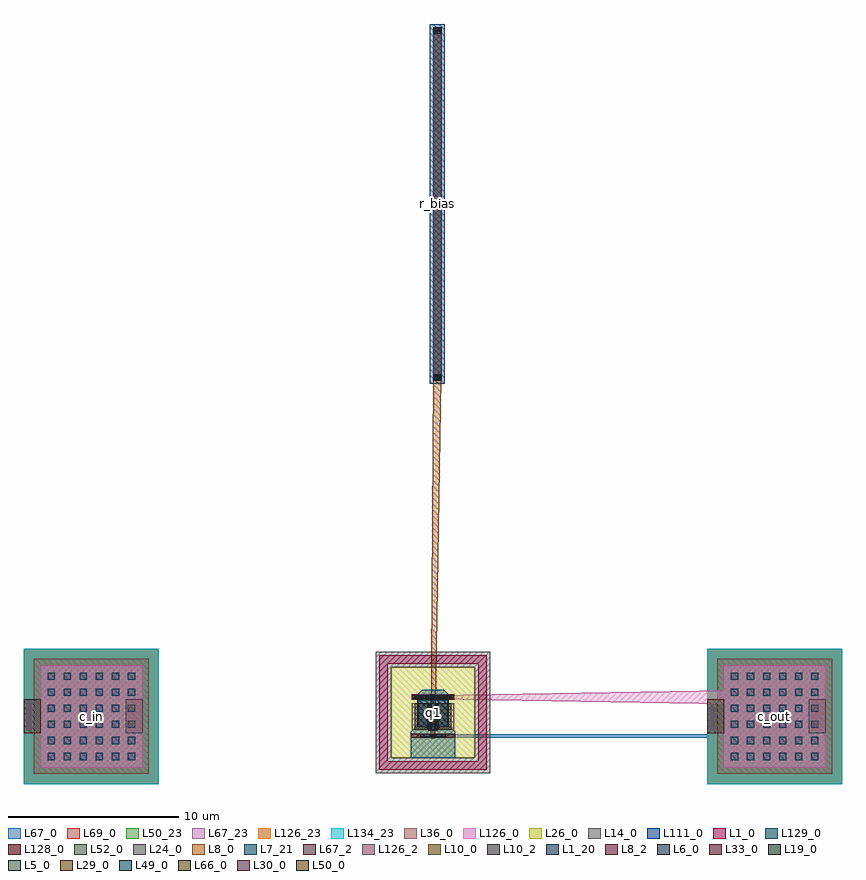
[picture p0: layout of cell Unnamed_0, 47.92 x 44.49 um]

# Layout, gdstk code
from math import pi, radians
import gdstk
lib = gdstk.Library(unit=1e-6, precision=1e-09)
def R(c, l, rs):  # rectangles x0, y0, x1, y1
    for r in rs: c.add(gdstk.rectangle(r[:2], r[2:], *l))
def P(c, l, *ps):  # polygons
    for p in ps: c.add(gdstk.Polygon(p, *l))
L1_0 = (1, 0)
L1_20 = (1, 20)
L5_0 = (5, 0)
L6_0 = (6, 0)
L7_21 = (7, 21)
L8_0 = (8, 0)
L8_2 = (8, 2)
L10_0 = (10, 0)
L10_2 = (10, 2)
L14_0 = (14, 0)
L19_0 = (19, 0)
L24_0 = (24, 0)
L26_0 = (26, 0)
L29_0 = (29, 0)
L30_0 = (30, 0)
L33_0 = (33, 0)
L36_0 = (36, 0)
L49_0 = (49, 0)
L50_0 = (50, 0)
L50_23 = (50, 23)
L52_0 = (52, 0)
L66_0 = (66, 0)
L67_0 = (67, 0)
L67_2 = (67, 2)
L67_23 = (67, 23)
L69_0 = (69, 0)
L111_0 = (111, 0)
L126_0 = (126, 0)
L126_2 = (126, 2)
L126_23 = (126, 23)
L128_0 = (128, 0)
L129_0 = (129, 0)
L134_23 = (134, 23)

rectangle_gdsfactorypcom = lib.new_cell('rectangle_gdsfactorypcomponentspshapesprectangle_S0p24__4b6e2a1b')
R(rectangle_gdsfactorypcom, L8_0, [(-0.12,-0.12,0.12,0.12)])

c_rectangle_gdsfactorypcom = lib.new_cell('rectangle_gdsfactorypcomponentspshapesprectangle_S0p24__8992c113')
R(c_rectangle_gdsfactorypcom, L10_0, [(-0.12,-0.12,0.12,0.12)])

c_rectangle_gdsfactorypcom_ = lib.new_cell('rectangle_gdsfactorypcomponentspshapesprectangle_S0p24__17c20360')
R(c_rectangle_gdsfactorypcom_, L30_0, [(-0.12,-0.12,0.12,0.12)])

c_rectangle_gdsfactorypcom__ = lib.new_cell('rectangle_gdsfactorypcomponentspshapesprectangle_S0p24__aeac00a8')
R(c_rectangle_gdsfactorypcom__, L50_0, [(-0.12,-0.12,0.12,0.12)])

c_rectangle_gdsfactorypcom___ = lib.new_cell('rectangle_gdsfactorypcomponentspshapesprectangle_S0p24__9edfed82')
R(c_rectangle_gdsfactorypcom___, L67_0, [(-0.12,-0.12,0.12,0.12)])

c_rectangle_gdsfactorypcom____ = lib.new_cell('rectangle_gdsfactorypcomponentspshapesprectangle_S0p26__6e8be91d')
R(c_rectangle_gdsfactorypcom____, L19_0, [(0,0,0.26,0.26)])

via_array_vtvia1_c1_r1_v = lib.new_cell('via_array_VTVia1_C1_R1_VS0p26_VS0p36_VE0p06_LCContdrawi_bb37b70c')
via_array_vtvia1_c1_r1_v.add(gdstk.Reference(c_rectangle_gdsfactorypcom____, (0,0)))

c_rectangle_gdsfactorypcom_____ = lib.new_cell('rectangle_gdsfactorypcomponentspshapesprectangle_S0p26__938c5197')
R(c_rectangle_gdsfactorypcom_____, L29_0, [(0,0,0.26,0.26)])

via_array_vtvia2_c1_r1_v = lib.new_cell('via_array_VTVia2_C1_R1_VS0p26_VS0p36_VE0p06_LCContdrawi_3ebaacfb')
via_array_vtvia2_c1_r1_v.add(gdstk.Reference(c_rectangle_gdsfactorypcom_____, (0,0)))

c_rectangle_gdsfactorypcom______ = lib.new_cell('rectangle_gdsfactorypcomponentspshapesprectangle_S0p26__aabd8f97')
R(c_rectangle_gdsfactorypcom______, L49_0, [(0,0,0.26,0.26)])

via_array_vtvia3_c1_r1_v = lib.new_cell('via_array_VTVia3_C1_R1_VS0p26_VS0p36_VE0p06_LCContdrawi_46726bc5')
via_array_vtvia3_c1_r1_v.add(gdstk.Reference(c_rectangle_gdsfactorypcom______, (0,0)))

c_rectangle_gdsfactorypcom_______ = lib.new_cell('rectangle_gdsfactorypcomponentspshapesprectangle_S0p26__5aad903e')
R(c_rectangle_gdsfactorypcom_______, L66_0, [(0,0,0.26,0.26)])

via_array_vtvia4_c1_r1_v = lib.new_cell('via_array_VTVia4_C1_R1_VS0p26_VS0p36_VE0p06_LCContdrawi_3b33ec1e')
via_array_vtvia4_c1_r1_v.add(gdstk.Reference(c_rectangle_gdsfactorypcom_______, (0,0)))

via_stack_blmetal1_tlmet = lib.new_cell('via_stack_BLMetal1_TLMetal5_S0p24_0p24_VC2_VR2_VC1_VR1__5316e0f4')
via_stack_blmetal1_tlmet.add(gdstk.Reference(rectangle_gdsfactorypcom, (0,0)))
via_stack_blmetal1_tlmet.add(gdstk.Reference(c_rectangle_gdsfactorypcom, (0,0)))
via_stack_blmetal1_tlmet.add(gdstk.Reference(c_rectangle_gdsfactorypcom_, (0,0)))
via_stack_blmetal1_tlmet.add(gdstk.Reference(c_rectangle_gdsfactorypcom__, (0,0)))
via_stack_blmetal1_tlmet.add(gdstk.Reference(c_rectangle_gdsfactorypcom___, (0,0)))
via_stack_blmetal1_tlmet.add(gdstk.Reference(via_array_vtvia1_c1_r1_v, (-0.13,-0.13)))
via_stack_blmetal1_tlmet.add(gdstk.Reference(via_array_vtvia2_c1_r1_v, (-0.13,-0.13)))
via_stack_blmetal1_tlmet.add(gdstk.Reference(via_array_vtvia3_c1_r1_v, (-0.13,-0.13)))
via_stack_blmetal1_tlmet.add(gdstk.Reference(via_array_vtvia4_c1_r1_v, (-0.13,-0.13)))

taper_gdsfactorypcompone = lib.new_cell('taper_gdsfactorypcomponentsptapersptaper_L23p8872183395_68e3a2bc')
P(taper_gdsfactorypcompone, L67_0, [(0,-0.12),(0,0.12),(23.887,0.1),(23.887,-0.1)])

unnamed_67 = lib.new_cell('Unnamed_67')
unnamed_67.add(gdstk.Reference(via_stack_blmetal1_tlmet, (20,-1.14)))
unnamed_67.add(gdstk.Reference(taper_gdsfactorypcompone, (20,-1.14)))

c_rectangle_gdsfactorypcom________ = lib.new_cell('rectangle_gdsfactorypcomponentspshapesprectangle_S0p24__3af09ed2')
R(c_rectangle_gdsfactorypcom________, L126_0, [(-0.12,-0.12,0.12,0.12)])

via_stack_blmetal1_tltop = lib.new_cell('via_stack_BLMetal1_TLTopMetal1_S0p24_0p24_VC2_VR2_VC1_V_835649cf')
via_stack_blmetal1_tltop.add(gdstk.Reference(rectangle_gdsfactorypcom, (0,0)))
via_stack_blmetal1_tltop.add(gdstk.Reference(c_rectangle_gdsfactorypcom, (0,0)))
via_stack_blmetal1_tltop.add(gdstk.Reference(c_rectangle_gdsfactorypcom_, (0,0)))
via_stack_blmetal1_tltop.add(gdstk.Reference(c_rectangle_gdsfactorypcom__, (0,0)))
via_stack_blmetal1_tltop.add(gdstk.Reference(c_rectangle_gdsfactorypcom___, (0,0)))
via_stack_blmetal1_tltop.add(gdstk.Reference(c_rectangle_gdsfactorypcom________, (0,0)))
via_stack_blmetal1_tltop.add(gdstk.Reference(via_array_vtvia1_c1_r1_v, (-0.13,-0.13)))
via_stack_blmetal1_tltop.add(gdstk.Reference(via_array_vtvia2_c1_r1_v, (-0.13,-0.13)))
via_stack_blmetal1_tltop.add(gdstk.Reference(via_array_vtvia3_c1_r1_v, (-0.13,-0.13)))
via_stack_blmetal1_tltop.add(gdstk.Reference(via_array_vtvia4_c1_r1_v, (-0.13,-0.13)))

c_taper_gdsfactorypcompone = lib.new_cell('taper_gdsfactorypcomponentsptapersptaper_L22p5283576853_4f870a2d')
P(c_taper_gdsfactorypcompone, L126_0, [(22.528,-0.5),(0,-0.12),(0,0.12),(22.528,0.5)])

unnamed_92 = lib.new_cell('Unnamed_92')
unnamed_92.add(gdstk.Reference(via_stack_blmetal1_tltop, (20,1.13)))
unnamed_92.add(gdstk.Reference(c_taper_gdsfactorypcompone, (20,1.13)))

c_taper_gdsfactorypcompone_ = lib.new_cell('taper_gdsfactorypcomponentsptapersptaper_L20p9414923059_07580b55')
P(c_taper_gdsfactorypcompone_, L8_0, [(0,-0.23),(0,0.23),(20.941,0.12),(20.941,-0.12)])

unnamed_97 = lib.new_cell('Unnamed_97')
unnamed_97.add(gdstk.Reference(c_taper_gdsfactorypcompone_, (20.25,19.8), rotation=radians(269.316)))

c_rectangle_gdsfactorypcom_________ = lib.new_cell('rectangle_gdsfactorypcomponentspshapesprectangle_S0p19__c3060a3f')
R(c_rectangle_gdsfactorypcom_________, L19_0, [(0,0,0.19,0.19)])

c_rectangle_gdsfactorypcom__________ = lib.new_cell('rectangle_gdsfactorypcomponentspshapesprectangle_S0p7_1_71895e14')
R(c_rectangle_gdsfactorypcom__________, L8_0, [(0,0,0.7,1.556)])

c_rectangle_gdsfactorypcom___________ = lib.new_cell('rectangle_gdsfactorypcomponentspshapesprectangle_S2p280_f50832cf')
R(c_rectangle_gdsfactorypcom___________, L6_0, [(0,0,2.28,0.16)])

c_rectangle_gdsfactorypcom____________ = lib.new_cell('rectangle_gdsfactorypcomponentspshapesprectangle_S1p52__7be19f5a')
R(c_rectangle_gdsfactorypcom____________, L6_0, [(0,0,1.52,0.16)])

c_rectangle_gdsfactorypcom_____________ = lib.new_cell('rectangle_gdsfactorypcomponentspshapesprectangle_S0p7_0_f54352eb')
R(c_rectangle_gdsfactorypcom_____________, L33_0, [(0,0,0.7,0.9)])

c_rectangle_gdsfactorypcom______________ = lib.new_cell('rectangle_gdsfactorypcomponentspshapesprectangle_S2p48__4539386c')
R(c_rectangle_gdsfactorypcom______________, L1_0, [(0,0,2.48,0.3)])

c_rectangle_gdsfactorypcom_______________ = lib.new_cell('rectangle_gdsfactorypcomponentspshapesprectangle_S2p48__05a47c96')
R(c_rectangle_gdsfactorypcom_______________, L8_0, [(0,0,2.48,0.24)])

c_rectangle_gdsfactorypcom________________ = lib.new_cell('rectangle_gdsfactorypcomponentspshapesprectangle_S2p58__74da9277')
R(c_rectangle_gdsfactorypcom________________, L8_0, [(0,0,2.58,0.24)])

c_rectangle_gdsfactorypcom_________________ = lib.new_cell('rectangle_gdsfactorypcomponentspshapesprectangle_S2p48__d5331a4a')
R(c_rectangle_gdsfactorypcom_________________, L10_0, [(0,0,2.48,1.556)])

c_rectangle_gdsfactorypcom__________________ = lib.new_cell('rectangle_gdsfactorypcomponentspshapesprectangle_S2p48__2edeaeb4')
R(c_rectangle_gdsfactorypcom__________________, L8_2, [(0,0,2.48,0.24)])

c_rectangle_gdsfactorypcom___________________ = lib.new_cell('rectangle_gdsfactorypcomponentspshapesprectangle_S2p58__92940f01')
R(c_rectangle_gdsfactorypcom___________________, L8_2, [(0,0,2.58,0.24)])

c_rectangle_gdsfactorypcom____________________ = lib.new_cell('rectangle_gdsfactorypcomponentspshapesprectangle_S2p12__33d63534')
R(c_rectangle_gdsfactorypcom____________________, L10_2, [(0,0,2.12,1.556)])

npn13g2_b0p3_b0p07_b0p1_ = lib.new_cell('npn13G2_B0p3_B0p07_B0p1_E0p15_E0p18_S0p44_EL0p9_EW0p7_N_5249a3d6')
P(npn13g2_b0p3_b0p07_b0p1_, L1_0, [(-3.15,-3.13),(-3.15,3.58),(2.65,3.58),(2.65,3.08),(-2.65,3.08),(-2.65,-2.63),(2.65,-2.63),(2.65,3.58),(3.15,3.58),(3.15,-3.13)])
P(npn13g2_b0p3_b0p07_b0p1_, L1_20, [(-0.235,-0.83),(-0.445,-0.62),(-0.925,-0.62),(-0.925,0.98),(0.925,0.98),(0.925,-0.62),(0.445,-0.62),(0.235,-0.83)])
P(npn13g2_b0p3_b0p07_b0p1_, L7_21, [(-1.29,-2.43),(-1.29,-0.9),(-0.87,-0.48),(-0.87,1.32),(-0.62,1.57),(0.62,1.57),(0.87,1.32),(0.87,-0.48),(1.29,-0.9),(1.29,-2.43)])
P(npn13g2_b0p3_b0p07_b0p1_, L14_0, [(-3.35,-3.33),(-3.35,3.78),(2.45,3.78),(2.45,2.88),(-2.45,2.88),(-2.45,-2.43),(2.45,-2.43),(2.45,3.78),(3.35,3.78),(3.35,-3.33)])
R(npn13g2_b0p3_b0p07_b0p1_, L26_0, [(-2.45,-2.43,2.45,2.88)])
npn13g2_b0p3_b0p07_b0p1_.add(gdstk.Reference(c_rectangle_gdsfactorypcom_________, (-0.3,0.51)))
npn13g2_b0p3_b0p07_b0p1_.add(gdstk.Reference(c_rectangle_gdsfactorypcom_________, (0.11,0.51)))
npn13g2_b0p3_b0p07_b0p1_.add(gdstk.Reference(c_rectangle_gdsfactorypcom_________, (-0.3,0.1)))
npn13g2_b0p3_b0p07_b0p1_.add(gdstk.Reference(c_rectangle_gdsfactorypcom_________, (0.11,0.1)))
npn13g2_b0p3_b0p07_b0p1_.add(gdstk.Reference(c_rectangle_gdsfactorypcom_________, (-0.3,-0.31)))
npn13g2_b0p3_b0p07_b0p1_.add(gdstk.Reference(c_rectangle_gdsfactorypcom_________, (0.11,-0.31)))
npn13g2_b0p3_b0p07_b0p1_.add(gdstk.Reference(c_rectangle_gdsfactorypcom_________, (-0.3,-0.72)))
npn13g2_b0p3_b0p07_b0p1_.add(gdstk.Reference(c_rectangle_gdsfactorypcom_________, (0.11,-0.72)))
npn13g2_b0p3_b0p07_b0p1_.add(gdstk.Reference(c_rectangle_gdsfactorypcom__________, (-0.35,-0.785)))
npn13g2_b0p3_b0p07_b0p1_.add(gdstk.Reference(c_rectangle_gdsfactorypcom___________, (-1.14,1.05)))
npn13g2_b0p3_b0p07_b0p1_.add(gdstk.Reference(c_rectangle_gdsfactorypcom____________, (-0.76,-1.22)))
npn13g2_b0p3_b0p07_b0p1_.add(gdstk.Reference(c_rectangle_gdsfactorypcom_____________, (-0.35,-0.45)))
npn13g2_b0p3_b0p07_b0p1_.add(gdstk.Reference(c_rectangle_gdsfactorypcom______________, (-1.24,0.98)))
npn13g2_b0p3_b0p07_b0p1_.add(gdstk.Reference(c_rectangle_gdsfactorypcom_______________, (-1.24,1.01)))
npn13g2_b0p3_b0p07_b0p1_.add(gdstk.Reference(c_rectangle_gdsfactorypcom________________, (-1.29,-1.26)))
npn13g2_b0p3_b0p07_b0p1_.add(gdstk.Reference(c_rectangle_gdsfactorypcom_________________, (-1.24,-0.785)))
npn13g2_b0p3_b0p07_b0p1_.add(gdstk.Reference(c_rectangle_gdsfactorypcom__________________, (-1.24,1.01)))
npn13g2_b0p3_b0p07_b0p1_.add(gdstk.Reference(c_rectangle_gdsfactorypcom___________________, (-1.29,-1.26)))
npn13g2_b0p3_b0p07_b0p1_.add(gdstk.Reference(c_rectangle_gdsfactorypcom____________________, (-1.06,-0.785)))
npn13g2_b0p3_b0p07_b0p1_.add(gdstk.Label('npn13G2', (0.015,2.31), layer=63, texttype=0))
npn13g2_b0p3_b0p07_b0p1_.add(gdstk.Label('C', (0,1.13), layer=63, texttype=0))
npn13g2_b0p3_b0p07_b0p1_.add(gdstk.Label('B', (0,-1.14), layer=63, texttype=0))
npn13g2_b0p3_b0p07_b0p1_.add(gdstk.Label('E', (0,-0.008), layer=63, texttype=0))
npn13g2_b0p3_b0p07_b0p1_.add(gdstk.Label('Ae=1*1*0.70*0.90', (-1.977,-2.546), layer=63, texttype=0))

c_rectangle_gdsfactorypcom_____________________ = lib.new_cell('rectangle_gdsfactorypcomponentspshapesprectangle_S7p92__2f53f460')
R(c_rectangle_gdsfactorypcom_____________________, L67_0, [(-3.96,-3.96,3.96,3.96)])

c_rectangle_gdsfactorypcom______________________ = lib.new_cell('rectangle_gdsfactorypcomponentspshapesprectangle_S6p72__84c52099')
R(c_rectangle_gdsfactorypcom______________________, L36_0, [(-3.36,-3.36,3.36,3.36)])

c_rectangle_gdsfactorypcom_______________________ = lib.new_cell('rectangle_gdsfactorypcomponentspshapesprectangle_S6_6_L_617c6e3a')
R(c_rectangle_gdsfactorypcom_______________________, L126_0, [(-3,-3,3,3)])

c_rectangle_gdsfactorypcom________________________ = lib.new_cell('rectangle_gdsfactorypcomponentspshapesprectangle_S0p42__b20b6c6c')
R(c_rectangle_gdsfactorypcom________________________, L129_0, [(0,0,0.42,0.42)])

via_array_vtvmim_c6_r6_v = lib.new_cell('via_array_VTVmim_C6_R6_VS0p42_VS0p94_VE0p42_LCContdrawi_f9908038')
via_array_vtvmim_c6_r6_v.add(gdstk.Reference(c_rectangle_gdsfactorypcom________________________, (0,0)))
via_array_vtvmim_c6_r6_v.add(gdstk.Reference(c_rectangle_gdsfactorypcom________________________, (0,0.94)))
via_array_vtvmim_c6_r6_v.add(gdstk.Reference(c_rectangle_gdsfactorypcom________________________, (0,1.88)))
via_array_vtvmim_c6_r6_v.add(gdstk.Reference(c_rectangle_gdsfactorypcom________________________, (0,2.82)))
via_array_vtvmim_c6_r6_v.add(gdstk.Reference(c_rectangle_gdsfactorypcom________________________, (0,3.76)))
via_array_vtvmim_c6_r6_v.add(gdstk.Reference(c_rectangle_gdsfactorypcom________________________, (0,4.7)))
via_array_vtvmim_c6_r6_v.add(gdstk.Reference(c_rectangle_gdsfactorypcom________________________, (0.94,0)))
via_array_vtvmim_c6_r6_v.add(gdstk.Reference(c_rectangle_gdsfactorypcom________________________, (0.94,0.94)))
via_array_vtvmim_c6_r6_v.add(gdstk.Reference(c_rectangle_gdsfactorypcom________________________, (0.94,1.88)))
via_array_vtvmim_c6_r6_v.add(gdstk.Reference(c_rectangle_gdsfactorypcom________________________, (0.94,2.82)))
via_array_vtvmim_c6_r6_v.add(gdstk.Reference(c_rectangle_gdsfactorypcom________________________, (0.94,3.76)))
via_array_vtvmim_c6_r6_v.add(gdstk.Reference(c_rectangle_gdsfactorypcom________________________, (0.94,4.7)))
via_array_vtvmim_c6_r6_v.add(gdstk.Reference(c_rectangle_gdsfactorypcom________________________, (1.88,0)))
via_array_vtvmim_c6_r6_v.add(gdstk.Reference(c_rectangle_gdsfactorypcom________________________, (1.88,0.94)))
via_array_vtvmim_c6_r6_v.add(gdstk.Reference(c_rectangle_gdsfactorypcom________________________, (1.88,1.88)))
via_array_vtvmim_c6_r6_v.add(gdstk.Reference(c_rectangle_gdsfactorypcom________________________, (1.88,2.82)))
via_array_vtvmim_c6_r6_v.add(gdstk.Reference(c_rectangle_gdsfactorypcom________________________, (1.88,3.76)))
via_array_vtvmim_c6_r6_v.add(gdstk.Reference(c_rectangle_gdsfactorypcom________________________, (1.88,4.7)))
via_array_vtvmim_c6_r6_v.add(gdstk.Reference(c_rectangle_gdsfactorypcom________________________, (2.82,0)))
via_array_vtvmim_c6_r6_v.add(gdstk.Reference(c_rectangle_gdsfactorypcom________________________, (2.82,0.94)))
via_array_vtvmim_c6_r6_v.add(gdstk.Reference(c_rectangle_gdsfactorypcom________________________, (2.82,1.88)))
via_array_vtvmim_c6_r6_v.add(gdstk.Reference(c_rectangle_gdsfactorypcom________________________, (2.82,2.82)))
via_array_vtvmim_c6_r6_v.add(gdstk.Reference(c_rectangle_gdsfactorypcom________________________, (2.82,3.76)))
via_array_vtvmim_c6_r6_v.add(gdstk.Reference(c_rectangle_gdsfactorypcom________________________, (2.82,4.7)))
via_array_vtvmim_c6_r6_v.add(gdstk.Reference(c_rectangle_gdsfactorypcom________________________, (3.76,0)))
via_array_vtvmim_c6_r6_v.add(gdstk.Reference(c_rectangle_gdsfactorypcom________________________, (3.76,0.94)))
via_array_vtvmim_c6_r6_v.add(gdstk.Reference(c_rectangle_gdsfactorypcom________________________, (3.76,1.88)))
via_array_vtvmim_c6_r6_v.add(gdstk.Reference(c_rectangle_gdsfactorypcom________________________, (3.76,2.82)))
via_array_vtvmim_c6_r6_v.add(gdstk.Reference(c_rectangle_gdsfactorypcom________________________, (3.76,3.76)))
via_array_vtvmim_c6_r6_v.add(gdstk.Reference(c_rectangle_gdsfactorypcom________________________, (3.76,4.7)))
via_array_vtvmim_c6_r6_v.add(gdstk.Reference(c_rectangle_gdsfactorypcom________________________, (4.7,0)))
via_array_vtvmim_c6_r6_v.add(gdstk.Reference(c_rectangle_gdsfactorypcom________________________, (4.7,0.94)))
via_array_vtvmim_c6_r6_v.add(gdstk.Reference(c_rectangle_gdsfactorypcom________________________, (4.7,1.88)))
via_array_vtvmim_c6_r6_v.add(gdstk.Reference(c_rectangle_gdsfactorypcom________________________, (4.7,2.82)))
via_array_vtvmim_c6_r6_v.add(gdstk.Reference(c_rectangle_gdsfactorypcom________________________, (4.7,3.76)))
via_array_vtvmim_c6_r6_v.add(gdstk.Reference(c_rectangle_gdsfactorypcom________________________, (4.7,4.7)))

c_rectangle_gdsfactorypcom_________________________ = lib.new_cell('rectangle_gdsfactorypcomponentspshapesprectangle_S7p92__94a7ff8e')
R(c_rectangle_gdsfactorypcom_________________________, L69_0, [(-3.96,-3.96,3.96,3.96)])

c_rectangle_gdsfactorypcom__________________________ = lib.new_cell('rectangle_gdsfactorypcomponentspshapesprectangle_S7p92__140be9b3')
R(c_rectangle_gdsfactorypcom__________________________, L50_23, [(-3.96,-3.96,3.96,3.96)])

c_rectangle_gdsfactorypcom___________________________ = lib.new_cell('rectangle_gdsfactorypcomponentspshapesprectangle_S7p92__4ea18f77')
R(c_rectangle_gdsfactorypcom___________________________, L67_23, [(-3.96,-3.96,3.96,3.96)])

c_rectangle_gdsfactorypcom____________________________ = lib.new_cell('rectangle_gdsfactorypcomponentspshapesprectangle_S7p92__2ec7e15c')
R(c_rectangle_gdsfactorypcom____________________________, L126_23, [(-3.96,-3.96,3.96,3.96)])

c_rectangle_gdsfactorypcom_____________________________ = lib.new_cell('rectangle_gdsfactorypcomponentspshapesprectangle_S7p92__59f34193')
R(c_rectangle_gdsfactorypcom_____________________________, L134_23, [(-3.96,-3.96,3.96,3.96)])

c_rectangle_gdsfactorypcom______________________________ = lib.new_cell('rectangle_gdsfactorypcomponentspshapesprectangle_S1_2_L_313130ad')
R(c_rectangle_gdsfactorypcom______________________________, L67_2, [(-0.5,-1,0.5,1)])

c_rectangle_gdsfactorypcom_______________________________ = lib.new_cell('rectangle_gdsfactorypcomponentspshapesprectangle_S1_2_L_21edbbcb')
R(c_rectangle_gdsfactorypcom_______________________________, L126_2, [(-0.5,-1,0.5,1)])

cmim_w6_l6_lmmetal5drawi = lib.new_cell('cmim_W6_L6_LMMetal5drawing_LMMIMdrawing_LVVmimdrawing_L_6e1f814c')
cmim_w6_l6_lmmetal5drawi.add(gdstk.Reference(c_rectangle_gdsfactorypcom_____________________, (0,0)))
cmim_w6_l6_lmmetal5drawi.add(gdstk.Reference(c_rectangle_gdsfactorypcom______________________, (0,0)))
cmim_w6_l6_lmmetal5drawi.add(gdstk.Reference(c_rectangle_gdsfactorypcom_______________________, (0,0)))
cmim_w6_l6_lmmetal5drawi.add(gdstk.Reference(via_array_vtvmim_c6_r6_v, (-2.56,-2.56)))
cmim_w6_l6_lmmetal5drawi.add(gdstk.Reference(c_rectangle_gdsfactorypcom_________________________, (0,0)))
cmim_w6_l6_lmmetal5drawi.add(gdstk.Reference(c_rectangle_gdsfactorypcom__________________________, (0,0)))
cmim_w6_l6_lmmetal5drawi.add(gdstk.Reference(c_rectangle_gdsfactorypcom___________________________, (0,0)))
cmim_w6_l6_lmmetal5drawi.add(gdstk.Reference(c_rectangle_gdsfactorypcom____________________________, (0,0)))
cmim_w6_l6_lmmetal5drawi.add(gdstk.Reference(c_rectangle_gdsfactorypcom_____________________________, (0,0)))
cmim_w6_l6_lmmetal5drawi.add(gdstk.Reference(c_rectangle_gdsfactorypcom______________________________, (-3.46,0)))
cmim_w6_l6_lmmetal5drawi.add(gdstk.Reference(c_rectangle_gdsfactorypcom_______________________________, (2.5,0)))
cmim_w6_l6_lmmetal5drawi.add(gdstk.Label('PLUS', (2.5,0), layer=63, texttype=0))
cmim_w6_l6_lmmetal5drawi.add(gdstk.Label('MINUS', (-3.86,0), layer=63, texttype=0))
cmim_w6_l6_lmmetal5drawi.add(gdstk.Label('cmim', (0,3), layer=63, texttype=0))
cmim_w6_l6_lmmetal5drawi.add(gdstk.Label('C = 55.141749999999995 fF', (0,-3), layer=63, texttype=0))

c_rectangle_gdsfactorypcom________________________________ = lib.new_cell('rectangle_gdsfactorypcomponentspshapesprectangle_S0p5_2_c267edd1')
R(c_rectangle_gdsfactorypcom________________________________, L128_0, [(0,0,0.5,20)])

c_rectangle_gdsfactorypcom_________________________________ = lib.new_cell('rectangle_gdsfactorypcomponentspshapesprectangle_S0p5_2_13be5b3f')
R(c_rectangle_gdsfactorypcom_________________________________, L52_0, [(0,0,0.5,20)])

c_rectangle_gdsfactorypcom__________________________________ = lib.new_cell('rectangle_gdsfactorypcomponentspshapesprectangle_S0p5_2_e91c85a6')
R(c_rectangle_gdsfactorypcom__________________________________, L24_0, [(0,0,0.5,20)])

c_rectangle_gdsfactorypcom___________________________________ = lib.new_cell('rectangle_gdsfactorypcomponentspshapesprectangle_S0p5_0_365be98d')
R(c_rectangle_gdsfactorypcom___________________________________, L5_0, [(0,0,0.5,0.35)])

c_rectangle_gdsfactorypcom____________________________________ = lib.new_cell('rectangle_gdsfactorypcomponentspshapesprectangle_S0p46__0c3aa280')
R(c_rectangle_gdsfactorypcom____________________________________, L8_2, [(0,0,0.46,0.26)])

c_rectangle_gdsfactorypcom_____________________________________ = lib.new_cell('rectangle_gdsfactorypcomponentspshapesprectangle_S0p46__c5e398a1')
R(c_rectangle_gdsfactorypcom_____________________________________, L8_0, [(0,0,0.46,0.26)])

c_rectangle_gdsfactorypcom______________________________________ = lib.new_cell('rectangle_gdsfactorypcomponentspshapesprectangle_S0p36__cc771b56')
R(c_rectangle_gdsfactorypcom______________________________________, L6_0, [(0,0,0.36,0.16)])

c_rectangle_gdsfactorypcom_______________________________________ = lib.new_cell('rectangle_gdsfactorypcomponentspshapesprectangle_S0p86__c0131e7e')
R(c_rectangle_gdsfactorypcom_______________________________________, L111_0, [(0,0,0.86,21.06)])

rsil_d20_d0p5_rnone_mrsi = lib.new_cell('rsil_D20_D0p5_RNone_Mrsil_LPPolyResdrawing_LHHeatResdra_2844c82a')
rsil_d20_d0p5_rnone_mrsi.add(gdstk.Reference(c_rectangle_gdsfactorypcom________________________________, (0,0)))
rsil_d20_d0p5_rnone_mrsi.add(gdstk.Reference(c_rectangle_gdsfactorypcom_________________________________, (0,0)))
rsil_d20_d0p5_rnone_mrsi.add(gdstk.Reference(c_rectangle_gdsfactorypcom__________________________________, (0,0)))
rsil_d20_d0p5_rnone_mrsi.add(gdstk.Reference(c_rectangle_gdsfactorypcom___________________________________, (0,20)))
rsil_d20_d0p5_rnone_mrsi.add(gdstk.Reference(c_rectangle_gdsfactorypcom___________________________________, (0,-0.35)))
rsil_d20_d0p5_rnone_mrsi.add(gdstk.Reference(c_rectangle_gdsfactorypcom____________________________________, (0.02,20.07)))
rsil_d20_d0p5_rnone_mrsi.add(gdstk.Reference(c_rectangle_gdsfactorypcom____________________________________, (0.02,-0.33)))
rsil_d20_d0p5_rnone_mrsi.add(gdstk.Reference(c_rectangle_gdsfactorypcom_____________________________________, (0.02,20.07)))
rsil_d20_d0p5_rnone_mrsi.add(gdstk.Reference(c_rectangle_gdsfactorypcom_____________________________________, (0.02,-0.33)))
rsil_d20_d0p5_rnone_mrsi.add(gdstk.Reference(c_rectangle_gdsfactorypcom______________________________________, (0.07,20.12)))
rsil_d20_d0p5_rnone_mrsi.add(gdstk.Reference(c_rectangle_gdsfactorypcom______________________________________, (0.07,-0.28)))
rsil_d20_d0p5_rnone_mrsi.add(gdstk.Reference(c_rectangle_gdsfactorypcom_______________________________________, (-0.18,-0.53)))

unnamed_0 = lib.new_cell('Unnamed_0')
unnamed_0.add(gdstk.Reference(unnamed_67, (0,0)))
unnamed_0.add(gdstk.Reference(unnamed_92, (0,0)))
unnamed_0.add(gdstk.Reference(unnamed_97, (0,0)))
unnamed_0.add(gdstk.Reference(npn13g2_b0p3_b0p07_b0p1_, (20,0)))
unnamed_0.add(gdstk.Reference(cmim_w6_l6_lmmetal5drawi, (0,0)))
unnamed_0.add(gdstk.Reference(cmim_w6_l6_lmmetal5drawi, (40,0)))
unnamed_0.add(gdstk.Reference(rsil_d20_d0p5_rnone_mrsi, (20,20)))
unnamed_0.add(gdstk.Label('q1', (20,0.225), layer=1, texttype=0))
unnamed_0.add(gdstk.Label('c_in', (0,0), layer=1, texttype=0))
unnamed_0.add(gdstk.Label('c_out', (40,0), layer=1, texttype=0))
unnamed_0.add(gdstk.Label('r_bias', (20.25,30), layer=1, texttype=0))

lib.write_gds('Unnamed_0.gds')
